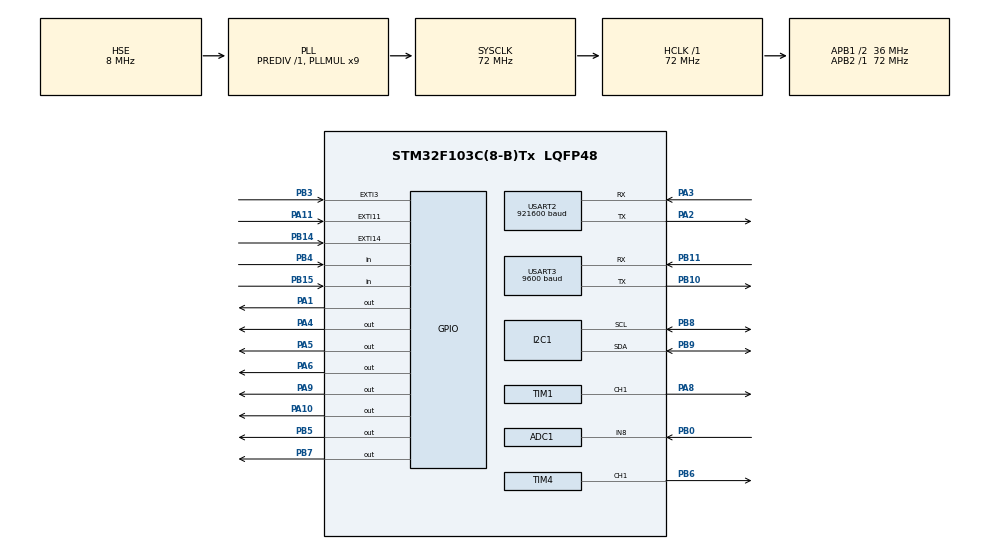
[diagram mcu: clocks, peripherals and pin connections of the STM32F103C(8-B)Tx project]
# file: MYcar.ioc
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ADC1.Channel-1\#ChannelRegularConversion=ADC_CHANNEL_8
ADC1.EnableInjectedConversion=DISABLE
ADC1.ExternalTrigConv=ADC_SOFTWARE_START
ADC1.ExternalTrigInjecConv=ADC_EXTERNALTRIGINJECCONV_T2_TRGO
ADC1.InjNumberOfConversion=1
ADC1.NbrOfConversion=1
ADC1.NbrOfConversionFlag=1
ADC1.Rank-1\#ChannelRegularConversion=1
ADC1.SamplingTime-1\#ChannelRegularConversion=ADC_SAMPLETIME_55CYCLES_5
ADC1.master=1
I2C1.I2C_Mode=I2C_Fast
Mcu.Family=STM32F1
Mcu.Name=STM32F103C(8-B)Tx
Mcu.Package=LQFP48
NVIC.ADC1_2_IRQn=true\:0\:0\:false\:false\:true\:true\:true\:true
NVIC.EXTI15_10_IRQn=true\:0\:0\:false\:false\:true\:true\:true\:true
NVIC.EXTI3_IRQn=true\:0\:0\:false\:false\:true\:true\:true\:true
NVIC.PriorityGroup=NVIC_PRIORITYGROUP_4
NVIC.USART3_IRQn=true\:0\:0\:false\:false\:true\:true\:true\:true
PA1.PinState=GPIO_PIN_RESET
PA1.Signal=GPIO_Output
PA10.Signal=GPIO_Output
PA11.GPIO_ModeDefaultEXTI=GPIO_MODE_IT_FALLING
PA11.GPIO_PuPd=GPIO_PULLUP
PA11.Signal=GPXTI11
PA13.Mode=Serial_Wire
PA13.Signal=SYS_JTMS-SWDIO
PA14.Mode=Serial_Wire
PA14.Signal=SYS_JTCK-SWCLK
PA2.Mode=Asynchronous
PA2.Signal=USART2_TX
PA3.Mode=Asynchronous
PA3.Signal=USART2_RX
PA4.GPIO_ModeDefaultOutputPP=GPIO_MODE_OUTPUT_PP
PA4.PinState=GPIO_PIN_RESET
PA4.Signal=GPIO_Output
PA5.PinState=GPIO_PIN_RESET
PA5.Signal=GPIO_Output
PA6.PinState=GPIO_PIN_RESET
PA6.Signal=GPIO_Output
PA8.Signal=S_TIM1_CH1
PA9.GPIO_ModeDefaultOutputPP=GPIO_MODE_OUTPUT_PP
PA9.Signal=GPIO_Output
PB0.Signal=ADCx_IN8
PB10.Mode=Asynchronous
PB10.Signal=USART3_TX
PB11.Mode=Asynchronous
PB11.Signal=USART3_RX
PB14.GPIO_ModeDefaultEXTI=GPIO_MODE_IT_RISING_FALLING
PB14.GPIO_PuPd=GPIO_PULLUP
PB14.Signal=GPXTI14
PB15.GPIO_PuPd=GPIO_PULLUP
PB15.Signal=GPIO_Input
PB3.GPIO_ModeDefaultEXTI=GPIO_MODE_IT_RISING_FALLING
PB3.GPIO_PuPd=GPIO_PULLUP
PB3.Signal=GPXTI3
PB4.GPIO_PuPd=GPIO_PULLUP
PB4.Signal=GPIO_Input
PB5.Signal=GPIO_Output
PB6.Signal=S_TIM4_CH1
PB7.Signal=GPIO_Output
PB8.Mode=I2C
PB8.Signal=I2C1_SCL
PB9.Mode=I2C
PB9.Signal=I2C1_SDA
PD0-OSC_IN.Mode=HSE-External-Oscillator
PD0-OSC_IN.Signal=RCC_OSC_IN
PD1-OSC_OUT.Mode=HSE-External-Oscillator
PD1-OSC_OUT.Signal=RCC_OSC_OUT
ProjectManager.HeapSize=0x200
ProjectManager.StackSize=0x400
ProjectManager.TargetToolchain=MDK-ARM V5.32
RCC.ADCPresc=RCC_ADCPCLK2_DIV6
RCC.AHBFreq_Value=72000000
RCC.APB1CLKDivider=RCC_HCLK_DIV2
RCC.APB1Freq_Value=36000000
RCC.APB1TimFreq_Value=72000000
RCC.APB2Freq_Value=72000000
RCC.APB2TimFreq_Value=72000000
RCC.HCLKFreq_Value=72000000
RCC.PLLMUL=RCC_PLL_MUL9
RCC.PLLSourceVirtual=RCC_PLLSOURCE_HSE
RCC.SYSCLKFreq_VALUE=72000000
RCC.SYSCLKSource=RCC_SYSCLKSOURCE_PLLCLK
RCC.USBFreq_Value=72000000
SH.ADCx_IN8.0=ADC1_IN8,IN8
SH.S_TIM1_CH1.0=TIM1_CH1,PWM Generation1 CH1
SH.S_TIM4_CH1.0=TIM4_CH1,PWM Generation1 CH1
TIM1.AutoReloadPreload=TIM_AUTORELOAD_PRELOAD_ENABLE
TIM1.Channel-PWM\ Generation1\ CH1=TIM_CHANNEL_1
TIM1.Period=999
TIM2.Period=9999
TIM2.Prescaler=71
TIM2.TIM_MasterOutputTrigger=TIM_TRGO_UPDATE
TIM4.AutoReloadPreload=TIM_AUTORELOAD_PRELOAD_ENABLE
TIM4.Channel-PWM\ Generation1\ CH1=TIM_CHANNEL_1
TIM4.Period=999
USART2.BaudRate=921600
USART2.VirtualMode=VM_ASYNC
USART3.BaudRate=9600
USART3.VirtualMode=VM_ASYNC
VP_TIM1_VS_ClockSourceINT.Mode=Internal
VP_TIM2_VS_ClockSourceINT.Mode=Internal
board=custom

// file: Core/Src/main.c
/* USER CODE BEGIN Header */
/**
  ******************************************************************************
  * @file           : main.c
  * @brief          : Main program body
  ******************************************************************************
  * @attention
  *
  * Copyright (c) 2026 STMicroelectronics.
  * All rights reserved.
  *
  * This software is licensed under terms that can be found in the LICENSE file
  * in the root directory of this software component.
  * If no LICENSE file comes with this software, it is provided AS-IS.
  *
  ******************************************************************************
  */
/* USER CODE END Header */
#include "main.h"

/* USER CODE BEGIN Includes */
#include "bat_test.h"
#include "app_bat.h"
#include "app_button.h"
#include "app_pwm.h"
#include "pwm_test.h"
#include "encoder.h"
#include "app_mpu6050_test.h"
#include "PID.h"
#include "app_mpu6050.h"
#include "string.h"
#include "stdio.h"
#include "app_encoder.h"
#include "app_control.h"
#include "app_remote_control.h"
/* USER CODE END Includes */

ADC_HandleTypeDef hadc1;

I2C_HandleTypeDef hi2c1;

TIM_HandleTypeDef htim1;
TIM_HandleTypeDef htim2;
TIM_HandleTypeDef htim4;

UART_HandleTypeDef huart2;
UART_HandleTypeDef huart3;

/* USER CODE BEGIN PV */
static uint32_t last_time;
static uint32_t state;

/* USER CODE END PV */

void SystemClock_Config(void);
static void MX_GPIO_Init(void);
static void MX_ADC1_Init(void);
static void MX_TIM2_Init(void);
static void MX_USART3_UART_Init(void);
static void MX_USART2_UART_Init(void);
static void MX_TIM1_Init(void);
static void MX_TIM4_Init(void);
static void MX_I2C1_Init(void);
/* USER CODE BEGIN PFP */
static void OnbordLED_Proc(void);

/* USER CODE END PFP */

/* USER CODE BEGIN 0 */
static void OnbordLED_Proc(void)
{
  if (HAL_GetTick() - last_time > 100)
  {
    last_time = HAL_GetTick();
    if (state == 0 )
    {
      HAL_GPIO_WritePin(GPIOC, GPIO_PIN_13, GPIO_PIN_SET);
      state = 1;
    }
    else
    {
      HAL_GPIO_WritePin(GPIOC, GPIO_PIN_13, GPIO_PIN_RESET);
      state = 0;
    }
  }
}

/* USER CODE END 0 */

int main(void)
{

  /* MCU Configuration--------------------------------------------------------*/

  /* Reset of all peripherals, Initializes the Flash interface and the Systick. */
  HAL_Init();

  /* Configure the system clock */
  SystemClock_Config();

  /* Initialize all configured peripherals */
  MX_GPIO_Init();
  MX_ADC1_Init();
  MX_TIM2_Init();
  MX_USART3_UART_Init();
  MX_USART2_UART_Init();
  MX_TIM1_Init();
  MX_TIM4_Init();
  MX_I2C1_Init();
  /* USER CODE BEGIN 2 */
  app_Bat_Init();
  App_Mpu6050_Init();
  App_Motor_init();
  /* 修复(12)：App_Control_Init 之前没被调用，角度环/角速度环的 Kp、Ki、Kd
     全是 0，平衡算法等于没开，只剩重力前馈，车必然稳不住 */
  App_Control_Init();
  app_remote_control_Init();
  //MPU_6050_EuarAngle_test();
  //App_Mpu6050_test();
  //Encoder_T_method_test();
  //pwm_test();
  /* USER CODE END 2 */

  /* Infinite loop */
  /* USER CODE BEGIN WHILE */
  //Bat_Test();
  while (1)
  {
    /* 台阶最大 12 rad/s：已经贴近 8.4V 下满占空比的空载顶速，最后一级可能跟不满 */

    app_button_process();
    App_bat_process();
    App_Motor_Proc();
    App_MPU6050_Proc();
    App_Control_Proc();
    app_remote_control_Proc();
    /* USER CODE END WHILE */

  }
}

void SystemClock_Config(void)
{
  RCC_OscInitTypeDef RCC_OscInitStruct = {0};
  RCC_ClkInitTypeDef RCC_ClkInitStruct = {0};
  RCC_PeriphCLKInitTypeDef PeriphClkInit = {0};

  /** Initializes the RCC Oscillators according to the specified parameters
  * in the RCC_OscInitTypeDef structure.
  */
  RCC_OscInitStruct.OscillatorType = RCC_OSCILLATORTYPE_HSE;
  RCC_OscInitStruct.HSEState = RCC_HSE_ON;
  RCC_OscInitStruct.HSEPredivValue = RCC_HSE_PREDIV_DIV1;
  RCC_OscInitStruct.HSIState = RCC_HSI_ON;
  RCC_OscInitStruct.PLL.PLLState = RCC_PLL_ON;
  RCC_OscInitStruct.PLL.PLLSource = RCC_PLLSOURCE_HSE;
  RCC_OscInitStruct.PLL.PLLMUL = RCC_PLL_MUL9;
  if (HAL_RCC_OscConfig(&RCC_OscInitStruct) != HAL_OK)
  {
    Error_Handler();
  }

  /** Initializes the CPU, AHB and APB buses clocks
  */
  RCC_ClkInitStruct.ClockType = RCC_CLOCKTYPE_HCLK|RCC_CLOCKTYPE_SYSCLK
                              |RCC_CLOCKTYPE_PCLK1|RCC_CLOCKTYPE_PCLK2;
  RCC_ClkInitStruct.SYSCLKSource = RCC_SYSCLKSOURCE_PLLCLK;
  RCC_ClkInitStruct.AHBCLKDivider = RCC_SYSCLK_DIV1;
  RCC_ClkInitStruct.APB1CLKDivider = RCC_HCLK_DIV2;
  RCC_ClkInitStruct.APB2CLKDivider = RCC_HCLK_DIV1;

  if (HAL_RCC_ClockConfig(&RCC_ClkInitStruct, FLASH_LATENCY_2) != HAL_OK)
  {
    Error_Handler();
  }
  PeriphClkInit.PeriphClockSelection = RCC_PERIPHCLK_ADC;
  PeriphClkInit.AdcClockSelection = RCC_ADCPCLK2_DIV6;
  if (HAL_RCCEx_PeriphCLKConfig(&PeriphClkInit) != HAL_OK)
  {
    Error_Handler();
  }
}

static void MX_ADC1_Init(void)
{

  ADC_ChannelConfTypeDef sConfig = {0};

  /** Common config
  */
  hadc1.Instance = ADC1;
  hadc1.Init.ScanConvMode = ADC_SCAN_DISABLE;
  hadc1.Init.ContinuousConvMode = DISABLE;
  hadc1.Init.DiscontinuousConvMode = DISABLE;
  hadc1.Init.ExternalTrigConv = ADC_SOFTWARE_START;
  hadc1.Init.DataAlign = ADC_DATAALIGN_RIGHT;
  hadc1.Init.NbrOfConversion = 1;
  if (HAL_ADC_Init(&hadc1) != HAL_OK)
  {
    Error_Handler();
  }

  /** Configure Regular Channel
  */
  sConfig.Channel = ADC_CHANNEL_8;
  sConfig.Rank = ADC_REGULAR_RANK_1;
  sConfig.SamplingTime = ADC_SAMPLETIME_55CYCLES_5;
  if (HAL_ADC_ConfigChannel(&hadc1, &sConfig) != HAL_OK)
  {
    Error_Handler();
  }

}

static void MX_I2C1_Init(void)
{

  hi2c1.Instance = I2C1;
  hi2c1.Init.ClockSpeed = 400000;
  hi2c1.Init.DutyCycle = I2C_DUTYCYCLE_2;
  hi2c1.Init.OwnAddress1 = 0;
  hi2c1.Init.AddressingMode = I2C_ADDRESSINGMODE_7BIT;
  hi2c1.Init.DualAddressMode = I2C_DUALADDRESS_DISABLE;
  hi2c1.Init.OwnAddress2 = 0;
  hi2c1.Init.GeneralCallMode = I2C_GENERALCALL_DISABLE;
  hi2c1.Init.NoStretchMode = I2C_NOSTRETCH_DISABLE;
  if (HAL_I2C_Init(&hi2c1) != HAL_OK)
  {
    Error_Handler();
  }

}

static void MX_TIM1_Init(void)
{

  TIM_ClockConfigTypeDef sClockSourceConfig = {0};
  TIM_MasterConfigTypeDef sMasterConfig = {0};
  TIM_OC_InitTypeDef sConfigOC = {0};
  TIM_BreakDeadTimeConfigTypeDef sBreakDeadTimeConfig = {0};

  htim1.Instance = TIM1;
  htim1.Init.Prescaler = 0;
  htim1.Init.CounterMode = TIM_COUNTERMODE_UP;
  htim1.Init.Period = 999;
  htim1.Init.ClockDivision = TIM_CLOCKDIVISION_DIV1;
  htim1.Init.RepetitionCounter = 0;
  htim1.Init.AutoReloadPreload = TIM_AUTORELOAD_PRELOAD_ENABLE;
  if (HAL_TIM_Base_Init(&htim1) != HAL_OK)
  {
    Error_Handler();
  }
  sClockSourceConfig.ClockSource = TIM_CLOCKSOURCE_INTERNAL;
  if (HAL_TIM_ConfigClockSource(&htim1, &sClockSourceConfig) != HAL_OK)
  {
    Error_Handler();
  }
  if (HAL_TIM_PWM_Init(&htim1) != HAL_OK)
  {
    Error_Handler();
  }
  sMasterConfig.MasterOutputTrigger = TIM_TRGO_RESET;
  sMasterConfig.MasterSlaveMode = TIM_MASTERSLAVEMODE_DISABLE;
  if (HAL_TIMEx_MasterConfigSynchronization(&htim1, &sMasterConfig) != HAL_OK)
  {
    Error_Handler();
  }
  sConfigOC.OCMode = TIM_OCMODE_PWM1;
  sConfigOC.Pulse = 0;
  sConfigOC.OCPolarity = TIM_OCPOLARITY_HIGH;
  sConfigOC.OCNPolarity = TIM_OCNPOLARITY_HIGH;
  sConfigOC.OCFastMode = TIM_OCFAST_DISABLE;
  sConfigOC.OCIdleState = TIM_OCIDLESTATE_RESET;
  sConfigOC.OCNIdleState = TIM_OCNIDLESTATE_RESET;
  if (HAL_TIM_PWM_ConfigChannel(&htim1, &sConfigOC, TIM_CHANNEL_1) != HAL_OK)
  {
    Error_Handler();
  }
  sBreakDeadTimeConfig.OffStateRunMode = TIM_OSSR_DISABLE;
  sBreakDeadTimeConfig.OffStateIDLEMode = TIM_OSSI_DISABLE;
  sBreakDeadTimeConfig.LockLevel = TIM_LOCKLEVEL_OFF;
  sBreakDeadTimeConfig.DeadTime = 0;
  sBreakDeadTimeConfig.BreakState = TIM_BREAK_DISABLE;
  sBreakDeadTimeConfig.BreakPolarity = TIM_BREAKPOLARITY_HIGH;
  sBreakDeadTimeConfig.AutomaticOutput = TIM_AUTOMATICOUTPUT_DISABLE;
  if (HAL_TIMEx_ConfigBreakDeadTime(&htim1, &sBreakDeadTimeConfig) != HAL_OK)
  {
    Error_Handler();
  }
  HAL_TIM_MspPostInit(&htim1);

}

static void MX_TIM2_Init(void)
{

  TIM_ClockConfigTypeDef sClockSourceConfig = {0};
  TIM_MasterConfigTypeDef sMasterConfig = {0};

  htim2.Instance = TIM2;
  htim2.Init.Prescaler = 71;
  htim2.Init.CounterMode = TIM_COUNTERMODE_UP;
  htim2.Init.Period = 9999;
  htim2.Init.ClockDivision = TIM_CLOCKDIVISION_DIV1;
  htim2.Init.AutoReloadPreload = TIM_AUTORELOAD_PRELOAD_DISABLE;
  if (HAL_TIM_Base_Init(&htim2) != HAL_OK)
  {
    Error_Handler();
  }
  sClockSourceConfig.ClockSource = TIM_CLOCKSOURCE_INTERNAL;
  if (HAL_TIM_ConfigClockSource(&htim2, &sClockSourceConfig) != HAL_OK)
  {
    Error_Handler();
  }
  sMasterConfig.MasterOutputTrigger = TIM_TRGO_UPDATE;
  sMasterConfig.MasterSlaveMode = TIM_MASTERSLAVEMODE_DISABLE;
  if (HAL_TIMEx_MasterConfigSynchronization(&htim2, &sMasterConfig) != HAL_OK)
  {
    Error_Handler();
  }

}

static void MX_TIM4_Init(void)
{

  TIM_MasterConfigTypeDef sMasterConfig = {0};
  TIM_OC_InitTypeDef sConfigOC = {0};

  htim4.Instance = TIM4;
  htim4.Init.Prescaler = 0;
  htim4.Init.CounterMode = TIM_COUNTERMODE_UP;
  htim4.Init.Period = 999;
  htim4.Init.ClockDivision = TIM_CLOCKDIVISION_DIV1;
  htim4.Init.AutoReloadPreload = TIM_AUTORELOAD_PRELOAD_ENABLE;
  if (HAL_TIM_PWM_Init(&htim4) != HAL_OK)
  {
    Error_Handler();
  }
  sMasterConfig.MasterOutputTrigger = TIM_TRGO_RESET;
  sMasterConfig.MasterSlaveMode = TIM_MASTERSLAVEMODE_DISABLE;
  if (HAL_TIMEx_MasterConfigSynchronization(&htim4, &sMasterConfig) != HAL_OK)
  {
    Error_Handler();
  }
  sConfigOC.OCMode = TIM_OCMODE_PWM1;
  sConfigOC.Pulse = 0;
  sConfigOC.OCPolarity = TIM_OCPOLARITY_HIGH;
  sConfigOC.OCFastMode = TIM_OCFAST_DISABLE;
  if (HAL_TIM_PWM_ConfigChannel(&htim4, &sConfigOC, TIM_CHANNEL_1) != HAL_OK)
  {
    Error_Handler();
  }
  HAL_TIM_MspPostInit(&htim4);

}

static void MX_USART2_UART_Init(void)
{

  huart2.Instance = USART2;
  huart2.Init.BaudRate = 921600;
  huart2.Init.WordLength = UART_WORDLENGTH_8B;
  huart2.Init.StopBits = UART_STOPBITS_1;
  huart2.Init.Parity = UART_PARITY_NONE;
  huart2.Init.Mode = UART_MODE_TX_RX;
  huart2.Init.HwFlowCtl = UART_HWCONTROL_NONE;
  huart2.Init.OverSampling = UART_OVERSAMPLING_16;
  if (HAL_UART_Init(&huart2) != HAL_OK)
  {
    Error_Handler();
  }

}

static void MX_USART3_UART_Init(void)
{

  huart3.Instance = USART3;
  huart3.Init.BaudRate = 9600;
  huart3.Init.WordLength = UART_WORDLENGTH_8B;
  huart3.Init.StopBits = UART_STOPBITS_1;
  huart3.Init.Parity = UART_PARITY_NONE;
  huart3.Init.Mode = UART_MODE_TX_RX;
  huart3.Init.HwFlowCtl = UART_HWCONTROL_NONE;
  huart3.Init.OverSampling = UART_OVERSAMPLING_16;
  if (HAL_UART_Init(&huart3) != HAL_OK)
  {
    Error_Handler();
  }

}

static void MX_GPIO_Init(void)
{
  GPIO_InitTypeDef GPIO_InitStruct = {0};

  /* GPIO Ports Clock Enable */
  __HAL_RCC_GPIOD_CLK_ENABLE();
  __HAL_RCC_GPIOA_CLK_ENABLE();
  __HAL_RCC_GPIOB_CLK_ENABLE();

  /*Configure GPIO pin Output Level */
  HAL_GPIO_WritePin(GPIOA, GPIO_PIN_1|GPIO_PIN_4|GPIO_PIN_5|GPIO_PIN_6
                          |GPIO_PIN_9|GPIO_PIN_10, GPIO_PIN_RESET);

  /*Configure GPIO pin Output Level */
  HAL_GPIO_WritePin(GPIOB, GPIO_PIN_5|GPIO_PIN_7, GPIO_PIN_RESET);

  /*Configure GPIO pins : PA1 PA4 PA5 PA6
                           PA9 PA10 */
  GPIO_InitStruct.Pin = GPIO_PIN_1|GPIO_PIN_4|GPIO_PIN_5|GPIO_PIN_6
                          |GPIO_PIN_9|GPIO_PIN_10;
  GPIO_InitStruct.Mode = GPIO_MODE_OUTPUT_PP;
  GPIO_InitStruct.Pull = GPIO_NOPULL;
  GPIO_InitStruct.Speed = GPIO_SPEED_FREQ_LOW;
  HAL_GPIO_Init(GPIOA, &GPIO_InitStruct);

  /*Configure GPIO pins : PB14 PB3 */
  GPIO_InitStruct.Pin = GPIO_PIN_14|GPIO_PIN_3;
  GPIO_InitStruct.Mode = GPIO_MODE_IT_RISING_FALLING;
  GPIO_InitStruct.Pull = GPIO_PULLUP;
  HAL_GPIO_Init(GPIOB, &GPIO_InitStruct);

  /*Configure GPIO pins : PB15 PB4 */
  GPIO_InitStruct.Pin = GPIO_PIN_15|GPIO_PIN_4;
  GPIO_InitStruct.Mode = GPIO_MODE_INPUT;
  GPIO_InitStruct.Pull = GPIO_PULLUP;
  HAL_GPIO_Init(GPIOB, &GPIO_InitStruct);

  /*Configure GPIO pin : PA11 */
  GPIO_InitStruct.Pin = GPIO_PIN_11;
  GPIO_InitStruct.Mode = GPIO_MODE_IT_FALLING;
  GPIO_InitStruct.Pull = GPIO_PULLUP;
  HAL_GPIO_Init(GPIOA, &GPIO_InitStruct);

  /*Configure GPIO pins : PB5 PB7 */
  GPIO_InitStruct.Pin = GPIO_PIN_5|GPIO_PIN_7;
  GPIO_InitStruct.Mode = GPIO_MODE_OUTPUT_PP;
  GPIO_InitStruct.Pull = GPIO_NOPULL;
  GPIO_InitStruct.Speed = GPIO_SPEED_FREQ_LOW;
  HAL_GPIO_Init(GPIOB, &GPIO_InitStruct);

  /* EXTI interrupt init*/
  HAL_NVIC_SetPriority(EXTI3_IRQn, 0, 0);
  HAL_NVIC_EnableIRQ(EXTI3_IRQn);

  HAL_NVIC_SetPriority(EXTI15_10_IRQn, 0, 0);
  HAL_NVIC_EnableIRQ(EXTI15_10_IRQn);

}

void Error_Handler(void)
{
  __disable_irq();
  while (1)
  {
  }
}
